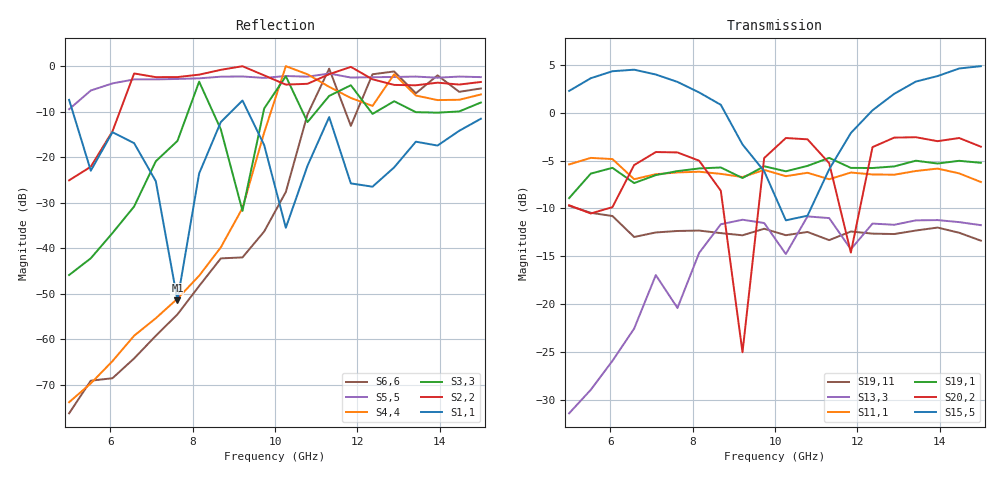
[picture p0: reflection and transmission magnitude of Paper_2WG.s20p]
! S-parameter export from POSTFEKO
! Filename: 2wg_Junc_dense
! Creation date: 2021-04-27 18:56:33
# Hz S MA R  5.0000000E+01
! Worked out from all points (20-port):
!   20 points, 5 GHz to 15 GHz, reference 50 ohm
!   strongest paths, dB at 5 GHz, 7.632 GHz, 10.26 GHz, 12.89 GHz, 15 GHz:
!     S15,5: 2.3, 3.2, -11.2, 2.0, 4.8
!     S20,2: -9.7, -4.2, -2.7, -2.6, -3.6
!     S19,1: -8.9, -6.1, -6.1, -5.6, -5.2
!     S11,1: -5.4, -6.2, -6.6, -6.5, -7.2
!     S13,3: -31.4, -20.4, -14.8, -11.7, -11.7
!     S19,11: -9.7, -12.4, -12.8, -12.7, -13.4
!   lowest |S11| = -51.4 dB at 7.632 GHz (marker M1), VSWR 1.01, Z = 50 + j0.266 ohm
!   |S11| at or under -10 dB: 5.088 GHz to 8.937 GHz (3.849 GHz wide, 54.9 % of centre); 9.343 GHz to end of sweep
